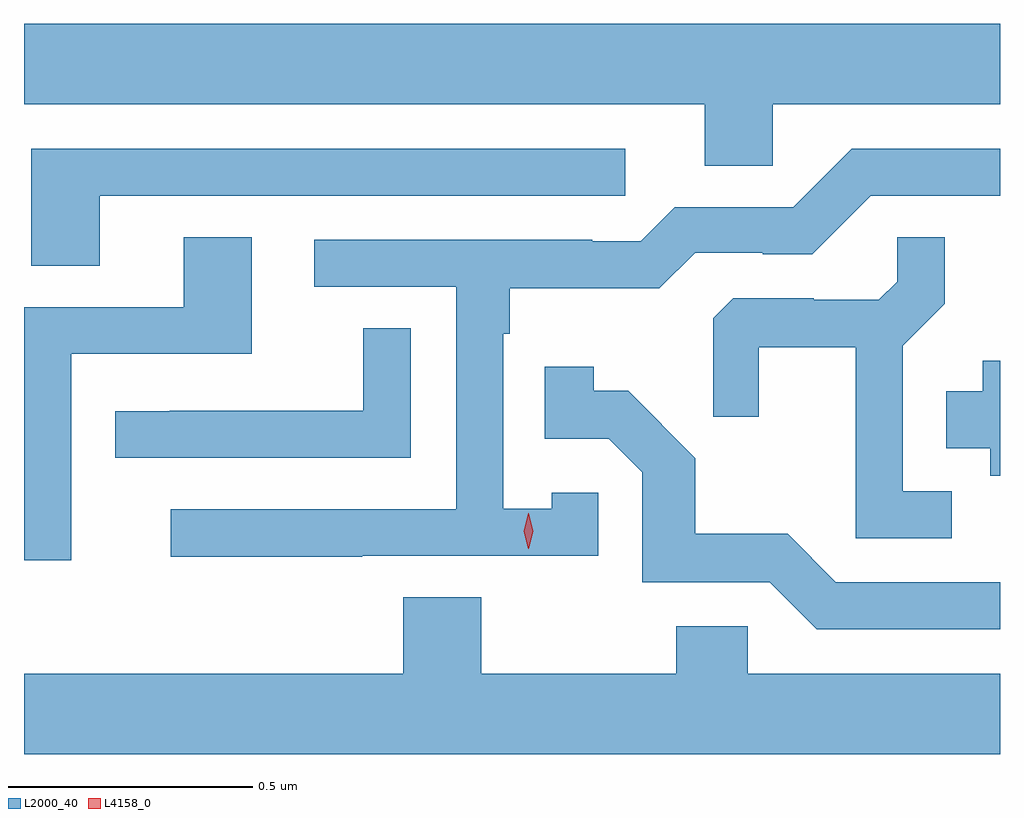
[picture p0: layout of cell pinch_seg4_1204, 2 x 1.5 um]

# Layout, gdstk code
import gdstk
lib = gdstk.Library(unit=1e-6, precision=1e-09)
def P(c, l, *ps):  # polygons
    for p in ps: c.add(gdstk.Polygon(p, *l))
L2000_40 = (2000, 40)
L4158_0 = (4158, 0)

pinch_seg4_1204 = lib.new_cell('pinch_seg4_1204')
P(pinch_seg4_1204, L2000_40, [(422.19,767.516),(422.656,767.516),(422.656,767.68),(420.656,767.68),(420.656,767.516),(422.051,767.516),(422.051,767.389),(422.19,767.389)],
  [(420.811,767.328),(421.888,767.328),(421.888,767.424),(420.671,767.424),(420.671,767.185),(420.811,767.185)],
  [(421.349,766.59),(421.833,766.59),(421.833,766.719),(421.737,766.719),(421.737,766.687),(421.638,766.687),(421.638,767.045),(421.651,767.045),(421.651,767.138),(421.958,767.138),(422.031,767.211),(422.17,767.211),(422.17,767.208),(422.271,767.208),(422.391,767.328),(422.656,767.328),(422.656,767.424),(422.352,767.424),(422.232,767.304),(421.989,767.304),(421.92,767.235),(421.82,767.235),(421.82,767.238),(421.251,767.238),(421.251,767.142),(421.542,767.142),(421.542,766.686),(420.957,766.686),(420.957,766.588),(421.349,766.588)],
  [(420.753,767.004),(421.123,767.004),(421.123,767.243),(420.983,767.243),(420.983,767.1),(420.656,767.1),(420.656,766.581),(420.753,766.581)],
  [(422.557,766.722),(422.457,766.722),(422.457,767.021),(422.543,767.107),(422.543,767.243),(422.445,767.243),(422.445,767.152),(422.408,767.115),(422.274,767.115),(422.274,767.118),(422.109,767.118),(422.068,767.077),(422.068,766.875),(422.162,766.875),(422.162,767.018),(422.36,767.018),(422.36,766.626),(422.557,766.626)],
  [(421.449,767.057),(421.351,767.057),(421.351,766.887),(420.955,766.887),(420.955,766.886),(420.843,766.886),(420.843,766.791),(421.449,766.791)],
  [(422.656,766.99),(422.621,766.99),(422.621,766.927),(422.546,766.927),(422.546,766.811),(422.636,766.811),(422.636,766.754),(422.656,766.754)],
  [(422.656,766.536),(422.319,766.536),(422.221,766.635),(422.032,766.635),(422.032,766.79),(421.894,766.928),(421.824,766.928),(421.824,766.978),(421.723,766.978),(421.723,766.83),(421.854,766.83),(421.923,766.761),(421.923,766.536),(422.184,766.536),(422.28,766.44),(422.656,766.44)],
  [(422.656,766.348),(422.139,766.348),(422.139,766.446),(421.993,766.446),(421.993,766.348),(421.593,766.348),(421.593,766.505),(421.433,766.505),(421.433,766.348),(420.656,766.348),(420.656,766.184),(422.656,766.184)])
P(pinch_seg4_1204, L4158_0, [(421.689,766.605),(421.68,766.641),(421.689,766.677),(421.69,766.677),(421.69,766.677),(421.7,766.641),(421.69,766.605),(421.69,766.605)])

lib.write_gds('pinch_seg4_1204.gds')
